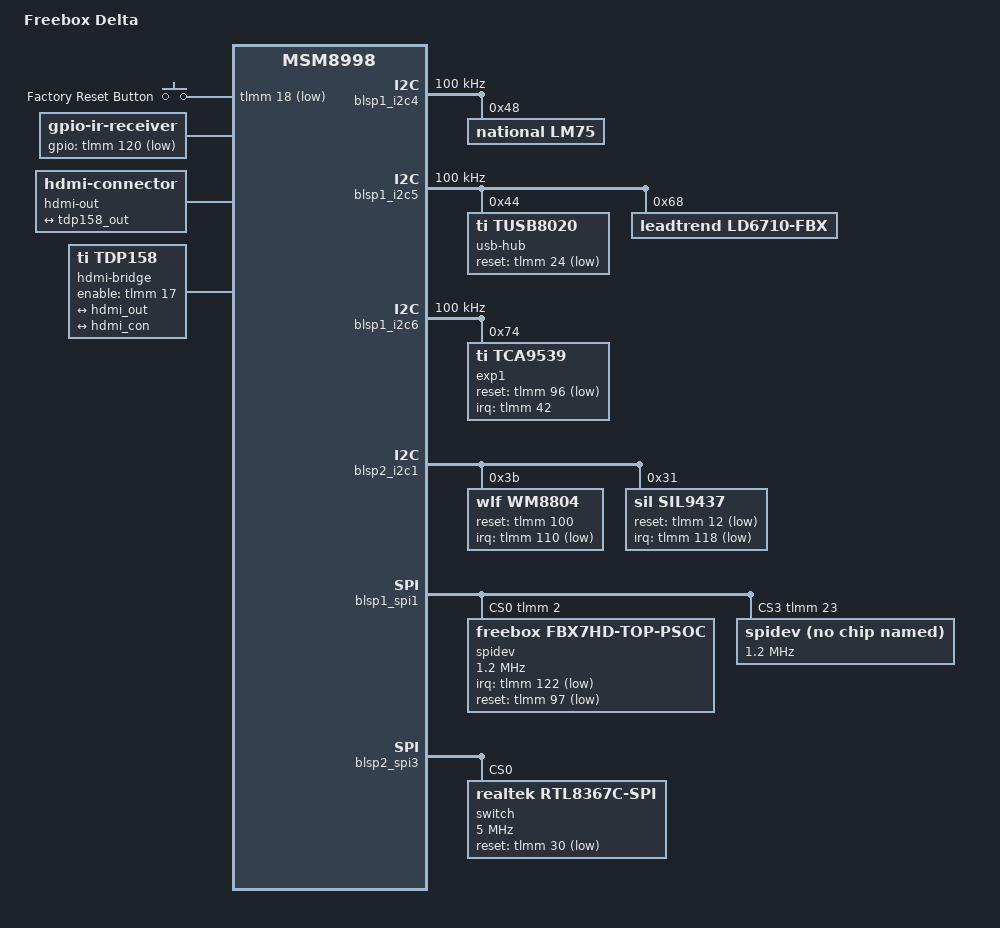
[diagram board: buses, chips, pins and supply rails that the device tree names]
// SPDX-License-Identifier: GPL-2.0
/* Copyright (c) 2016, The Linux Foundation. All rights reserved. */

/dts-v1/;

#include "apq8098-freebox.dtsi"

/ {
	model = "Freebox Delta";
	compatible = "freebox,fbx7hd-batfish", "qcom,msm8998";
	qcom,board-id = <5 2>;

	gpio_keys {
		compatible = "gpio-keys";
		pinctrl-0 = <&force_bank0>;
		pinctrl-names = "default";

		#address-cells = <1>;
		#size-cells = <0>;

		button@1 {
			label = "Factory Reset Button";
			linux,code = <KEY_SETUP>;
			gpios = <&tlmm 18 GPIO_ACTIVE_LOW>;
		};
	};

	ir: ir-receiver {
		compatible = "gpio-ir-receiver";
		gpios = <&tlmm 120 1>;
		pinctrl-names = "default";
		pinctrl-0 = <&ir_int>;
		linux,rc-map-name = "rc-rc6-freebox";
	};

	hdmi-out {
		compatible = "hdmi-connector";
		type = "a";

		port {
			hdmi_con: endpoint {
				remote-endpoint = <&tdp158_out>;
			};
		};
	};

	hdmi-bridge {
		compatible = "ti,tdp158";
		enable-gpios = <&tlmm 17 GPIO_ACTIVE_HIGH>;
		pinctrl-0 = <&hdmi_en>;
		pinctrl-names = "default";

		ports {
			#address-cells = <1>;
			#size-cells = <0>;

			port@0 {
				reg = <0>;

				tdp158_in: endpoint {
					remote-endpoint = <&hdmi_out>;
				};
			};

			port@1 {
				reg = <1>;

				tdp158_out: endpoint {
					remote-endpoint = <&hdmi_con>;
				};
			};
		};
	};
};

&blsp1_i2c4 {
	status = "okay";

	clock-frequency = <100000>;

	lm75@48 {
		compatible = "national,lm75";
		reg = <0x48>;
	};

	// tas5766@4c
	// tas5766@4d
	// tas5766@4e
	// at24_audio@53
	// at24_carrier@57
};

&blsp1_i2c5 {
	status = "okay";

	clock-frequency = <100000>;

	usb-hub@44 {
		compatible = "ti,tusb8020";
		reg = <0x44>;
		pinctrl-names = "default";
		pinctrl-0 = <&usb_hub_rst>;
		reset-gpios = <&tlmm 24 GPIO_ACTIVE_LOW>;
	};

	// usbmux@47
	// si2157@60
	// si2168@64

	ld6710-fbx@68 {
		compatible = "leadtrend,ld6710-fbx";
		reg = <0x68>;
	};
};

&blsp1_i2c6 {
	//status = "okay";

	clock-frequency = <100000>;

	exp1: gpio@74 {
		compatible = "ti,tca9539";
		reg = <0x74>;

		gpio-controller;
		#gpio-cells = <2>;

		reset-gpios = <&tlmm 96 GPIO_ACTIVE_LOW>;
		interrupt-parent = <&tlmm>;
		interrupts = <42 IRQ_TYPE_LEVEL_HIGH>;
		pinctrl-names = "default";
		pinctrl-0 = <&top_exp_rst>;
	};

	// at24_top@53
};

&blsp2_i2c1 {
	status = "okay";

	wm8804@3b {
		compatible = "wlf,wm8804";
		reg = <0x3b>;
		wlf,reset-gpio = <&tlmm 100 GPIO_ACTIVE_HIGH>;
		wlf,irq-gpio = <&tlmm 110 GPIO_ACTIVE_LOW>;
	};

	sil9437@31 {
		compatible = "sil,sil9437";
		reg = <0x31>;
		sil,reset-gpio = <&tlmm 12 GPIO_ACTIVE_LOW>;
		sil,irq-gpio = <&tlmm 118 GPIO_ACTIVE_LOW>;
		sil,irq-open-drain;
		sil,irq-active-low;
	};
};

&blsp1_spi1 {
	status = "okay";

	pinctrl-0 = <&blsp1_spi1_default &blsp1_spi_b_default>;
	cs-gpios = <&tlmm 2 GPIO_ACTIVE_HIGH>, <0>, <0>,
		<&tlmm 23 GPIO_ACTIVE_HIGH>;

	spidev@0 {
		/* PSOC for LED & touch control */
		compatible = "freebox,fbx7hd-top-psoc";
		spi-max-frequency = <1200000>;
		irq-gpio = <&tlmm 122 GPIO_ACTIVE_LOW>;
		reset-gpio = <&tlmm 97 GPIO_ACTIVE_LOW>;
		reg = <0>;
		pinctrl-names = "default";
		pinctrl-0 = <&top_psoc_rst &top_psoc_irq>;
	};

	spidev@3 {
		/* XMOS */
		compatible = "spidev";
		spi-max-frequency = <1200000>;
		reg = <3>;
	};
};

&blsp2_spi3 {
	status = "okay";

	switch@0 {
		compatible = "realtek,rtl8367c-spi";
		reg = <0>;
		reset-gpios = <&tlmm 30 GPIO_ACTIVE_LOW>;
		spi-max-frequency = <5000000>;

		pinctrl-names = "default";
		pinctrl-0 = <&switch_rst>;
	};
};

&hdmi_out {
	remote-endpoint = <&tdp158_in>;
};

&tlmm {
	force_bank0: force_bank0 {
		config {
			pins = "gpio18";
			bias-disable;
		};
	};

	force_test_mode: force_test_mode {
		config {
			pins = "gpio29";
			bias-pull-down;
		};
	};

	hdmi_en: hdmi_en {
		config {
			pins = "gpio17";
			bias-pull-down;
		};
	};

	hdmi_fault: hdmi_fault {
		config {
			pins = "gpio133";
			bias-pull-up;
		};
	};

	ir_int: ir_int {
		config {
			pins = "gpio120";
			drive-strength = <6>;
			bias-pull-up;
		};
	};

	spdif_src_sel: spdif_src_sel {
		config {
			pins = "gpio8";
			bias-pull-down;
		};
	};

	switch_rst: switch_rst {
		config {
			pins = "gpio30";
			bias-pull-down;
		};
	};

	top_exp_rst: top_exp_rst {
		config {
			pins = "gpio96";
			bias-pull-down;
		};
	};

	top_psoc_irq: top_psoc_irq {
		config {
			pins = "gpio122";
			bias-pull-down;
		};
	};

	top_psoc_rst: top_psoc_rst {
		config {
			pins = "gpio97";
			bias-pull-down;
		};
	};

	usb_hub_rst: usb_hub_rst {
		config {
			pins = "gpio24";
			bias-pull-down;
		};
	};
};
